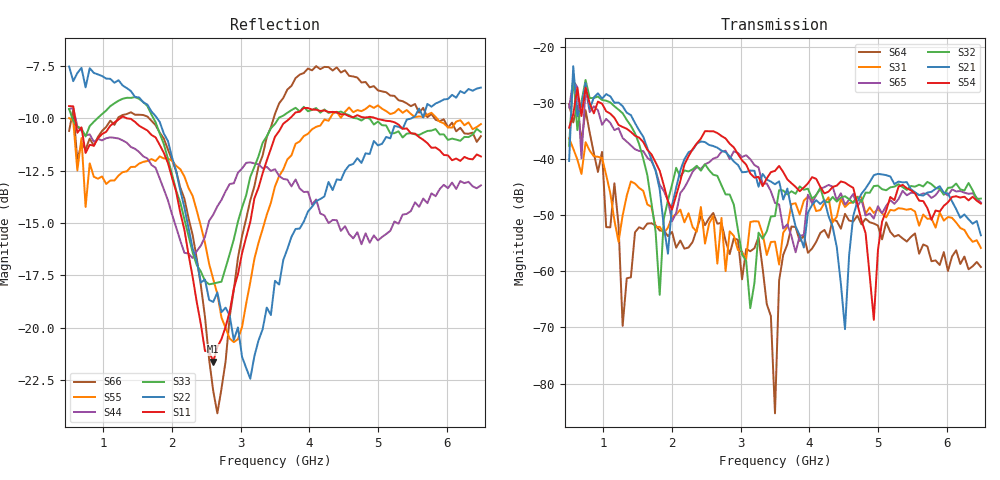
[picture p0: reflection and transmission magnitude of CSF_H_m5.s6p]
!Keysight Technologies,M9804A,MY58100912,A.14.10.03
!Date: Thursday, April 27, 2023 10:28:33
!Correction: S11(C  6-Port  )
!S12(C  6-Port  )
!S13(C  6-Port  )
!S14(C  6-Port  )
!S15(C  6-Port  )
!S16(C  6-Port  )
!S21(C  6-Port  )
!S22(C  6-Port  )
!S23(C  6-Port  )
!S24(C  6-Port  )
!S25(C  6-Port  )
!S26(C  6-Port  )
!S31(C  6-Port  )
!S32(C  6-Port  )
!S33(C  6-Port  )
!S34(C  6-Port  )
!S35(C  6-Port  )
!S36(C  6-Port  )
!S41(C  6-Port  )
!S42(C  6-Port  )
!S43(C  6-Port  )
!S44(C  6-Port  )
!S45(C  6-Port  )
!S46(C  6-Port  )
!S51(C  6-Port  )
!S52(C  6-Port  )
!S53(C  6-Port  )
!S54(C  6-Port  )
!S55(C  6-Port  )
!S56(C  6-Port  )
!S61(C  6-Port  )
!S62(C  6-Port  )
!S63(C  6-Port  )
!S64(C  6-Port  )
!S65(C  6-Port  )
!S66(C  6-Port  )
!S6P File: Measurement: :
# Hz S  RI  R 50
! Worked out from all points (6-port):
!   101 points, 500 MHz to 6.5 GHz, reference 50 ohm
!   strongest paths, dB at 500 MHz, 2 GHz, 3.5 GHz, 5 GHz, 6.5 GHz:
!     S54: -34.4, -49.0, -42.1, -56.2, -47.9
!     S21: -40.3, -48.2, -44.5, -42.6, -53.6
!     S32: -37.6, -44.5, -50.1, -44.7, -47.0
!     S65: -30.8, -51.1, -47.8, -48.4, -47.7
!     S31: -36.3, -50.3, -54.7, -48.9, -55.8
!     S64: -30.2, -53.0, -85.3, -51.8, -59.2
!   lowest |S11| = -21.6 dB at 2.6 GHz (marker M1), VSWR 1.18, Z = 42.6 + j2.03 ohm
!   |S11| at or under -10 dB: 587.4 MHz to 1.241 GHz (653.4 MHz wide, 71.5 % of centre); 1.357 GHz to 3.714 GHz (2.358 GHz wide, 93 % of centre); 4.975 GHz to end of sweep
